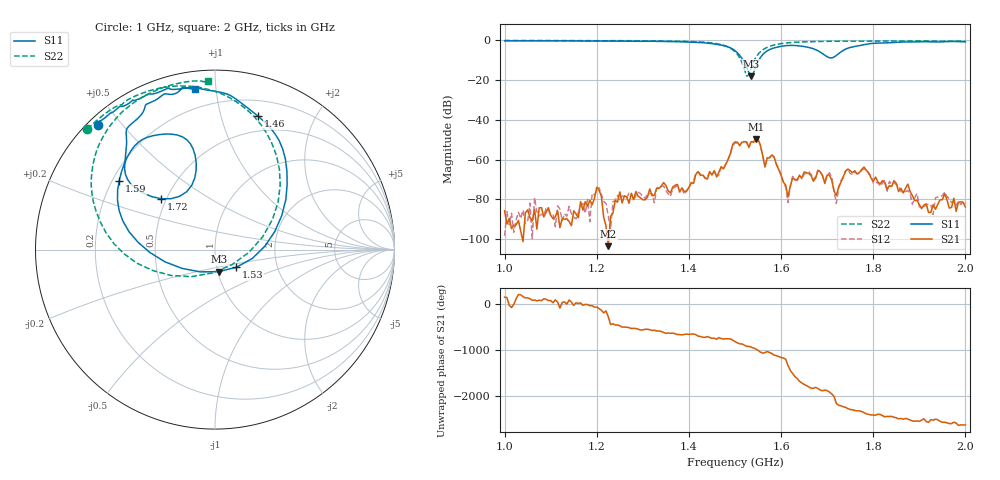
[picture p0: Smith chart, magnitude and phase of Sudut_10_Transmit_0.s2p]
# Hz S RI R 50
! CMT, C1220, 16058040, 17.2.0/1
! Date: 15/08/2018 08:59:08
! Data: Format (Calibration Info)
! Freq  S11: Re/Im (F2)  S21: Re/Im (F2)  S12: Re/Im (F2)  S22: Re/Im (F2)
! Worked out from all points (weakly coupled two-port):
!   201 points, 1 GHz to 2 GHz, reference 50 ohm
!   highest |S21| = -49.68 dB at 1.545 GHz (marker M1); lowest = -103.5 dB at 1.225 GHz (marker M2)
!   lowest |S11| = -18.1 dB at 1.535 GHz (marker M3), VSWR 1.28, Z = 50.5 - j12.6 ohm
!   |S11| at or under -10 dB: 1.517 GHz to 1.552 GHz (34.85 MHz wide, 2.27 % of centre)
!   |S22| runs from -18.0 to -0.2 dB; largest |S21 - S12| = 0.00019
!   S11 on the Smith chart (normalised r, x): 1 GHz: 0.03, +0.43; 1.46 GHz: 0.34, +1.31; 1.53 GHz: 1.24, -0.25; 1.59 GHz: 0.23, +0.31; 1.72 GHz: 0.47, +0.32; 2 GHz: 0.09, +0.88
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1e9  -0.6515 0.6963  -4.19e-05 3.06e-05  -1.05e-05 -6.15e-06  -0.7105 0.6718
1.17e9  -0.4878 0.8099  4.58e-05 -2.82e-05  7.32e-05 -3.09e-05  -0.5586 0.7935
1.225e9  -0.4266 0.8383  9.88e-07 6.65e-06  1.96e-06 -3.73e-05  -0.5026 0.8234
1.335e9  -0.2378 0.8925  -0.000132 0.000137  -0.000128 0.000167  -0.3262 0.8952
1.39e9  -0.0761 0.8953  8.19e-05 0.000134  6.6e-05 0.000115  -0.1848 0.9117
1.415e9  0.0321 0.876  0.000256 0.000339  0.000281 0.000371  -0.0926 0.9048
1.46e9  0.2382 0.7447  0.000263 -0.000272  0.000292 -0.000223  0.1524 0.7991
1.5e9  0.402 0.3637  -0.000265 -0.00277  -0.000317 -0.00259  0.3632 0.3584
1.53e9  0.119 -0.0986  -0.00193 0.000682  -0.00186 0.000613  -0.0163 -0.1303
1.535e9  0.0207 -0.1228  -0.00238 0.00154  -0.00235 0.00157  -0.1308 -0.1508
1.545e9  -0.1838 -0.1047  -0.000961 0.00314  -0.000945 0.00304  -0.3439 -0.1176
1.565e9  -0.4791 0.0999  0.00058 0.000295  0.000646 0.00033  -0.6072 0.0942
1.59e9  -0.5342 0.3824  0.000582 -0.000462  0.000617 -0.000472  -0.6897 0.359
1.615e9  -0.4476 0.5782  -3.94e-05 0.000109  -4.91e-05 6.79e-05  -0.6648 0.5343
1.625e9  -0.4039 0.6138  0.000158 -0.000304  0.000185 -0.000329  -0.6463 0.584
1.67e9  -0.1372 0.5896  0.000266 -0.000108  0.000297 -0.000103  -0.5511 0.7309
1.705e9  -0.1584 0.3218  -0.0001 -0.000396  -9.52e-05 -0.000459  -0.484 0.7947
1.72e9  -0.2982 0.2831  0.000124 2.04e-05  7.92e-05 -1.4e-06  -0.4564 0.8163
1.745e9  -0.4879 0.3921  -0.000121 -0.000566  -0.000156 -0.000559  -0.4127 0.8445
1.835e9  -0.4085 0.7547  9.22e-06 0.000221  2.4e-05 0.000283  -0.2739 0.9076
1.885e9  -0.3357 0.8303  0.000123 -1.86e-05  7.46e-05 1.17e-05  -0.1976 0.9281
2e9  -0.1139 0.8958  -7.86e-06 -6.46e-05  -1.82e-05 -7.67e-05  -0.0383 0.9416
